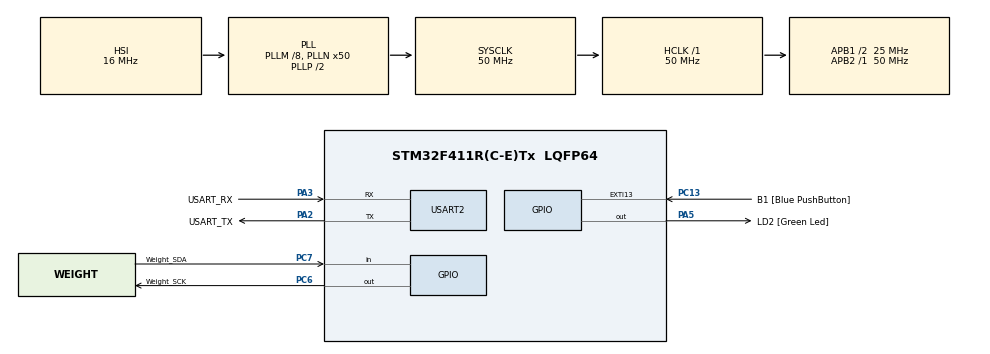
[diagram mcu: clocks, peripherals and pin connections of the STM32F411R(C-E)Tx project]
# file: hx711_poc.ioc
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Mcu.Family=STM32F4
Mcu.Name=STM32F411R(C-E)Tx
Mcu.Package=LQFP64
NVIC.PriorityGroup=NVIC_PRIORITYGROUP_0
NVIC.TIM1_UP_TIM10_IRQn=true\:0\:0\:false\:false\:true\:false\:true
NVIC.TimeBase=TIM1_UP_TIM10_IRQn
NVIC.TimeBaseIP=TIM1
PA13.GPIO_Label=TMS
PA13.Mode=Serial_Wire
PA13.Signal=SYS_JTMS-SWDIO
PA14.GPIO_Label=TCK
PA14.Mode=Serial_Wire
PA14.Signal=SYS_JTCK-SWCLK
PA2.GPIO_Label=USART_TX
PA2.Mode=Asynchronous
PA2.Signal=USART2_TX
PA3.GPIO_Label=USART_RX
PA3.Mode=Asynchronous
PA3.Signal=USART2_RX
PA5.GPIO_Label=LD2 [Green Led]
PA5.Signal=GPIO_Output
PB3.GPIO_Label=SWO
PB3.Signal=SYS_JTDO-SWO
PC13-ANTI_TAMP.GPIO_Label=B1 [Blue PushButton]
PC13-ANTI_TAMP.GPIO_ModeDefaultEXTI=GPIO_MODE_IT_FALLING
PC13-ANTI_TAMP.Signal=GPXTI13
PC14-OSC32_IN.Mode=LSE-External-Oscillator
PC14-OSC32_IN.Signal=RCC_OSC32_IN
PC15-OSC32_OUT.Mode=LSE-External-Oscillator
PC15-OSC32_OUT.Signal=RCC_OSC32_OUT
PC6.GPIO_Label=Weight_SCK
PC6.Signal=GPIO_Output
PC7.GPIO_Label=Weight_SDA
PC7.Signal=GPIO_Input
PH0\ -\ OSC_IN.Mode=HSE-External-Oscillator
PH0\ -\ OSC_IN.Signal=RCC_OSC_IN
PH1\ -\ OSC_OUT.Mode=HSE-External-Oscillator
PH1\ -\ OSC_OUT.Signal=RCC_OSC_OUT
ProjectManager.HeapSize=0x200
ProjectManager.StackSize=0x400
ProjectManager.TargetToolchain=STM32CubeIDE
RCC.48MHZClocksFreq_Value=25000000
RCC.AHBFreq_Value=50000000
RCC.APB1CLKDivider=RCC_HCLK_DIV2
RCC.APB1Freq_Value=25000000
RCC.APB1TimFreq_Value=50000000
RCC.APB2Freq_Value=50000000
RCC.APB2TimFreq_Value=50000000
RCC.CortexFreq_Value=50000000
RCC.FLatency-AdvancedSettings=FLASH_LATENCY_1
RCC.HCLKFreq_Value=50000000
RCC.HSE_VALUE=8000000
RCC.HSI_VALUE=16000000
RCC.PLLM=8
RCC.PLLN=50
RCC.SYSCLKFreq_VALUE=50000000
RCC.SYSCLKSource=RCC_SYSCLKSOURCE_PLLCLK
RCC.VCOOutputFreq_Value=100000000
USART2.VirtualMode=VM_ASYNC
VP_SYS_VS_tim1.Mode=TIM1
board=NUCLEO-F411RE

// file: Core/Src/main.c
/* USER CODE BEGIN Header */
/**
  ******************************************************************************
  * @file           : main.c
  * @brief          : Main program body
  ******************************************************************************
  * @attention
  *
  * Copyright (c) 2022 STMicroelectronics.
  * All rights reserved.
  *
  * This software is licensed under terms that can be found in the LICENSE file
  * in the root directory of this software component.
  * If no LICENSE file comes with this software, it is provided AS-IS.
  *
  ******************************************************************************
  */
/* USER CODE END Header */
#include "main.h"

UART_HandleTypeDef huart2;

/* USER CODE BEGIN PV */
const uint32_t AVERAGE_ROUND = 10;
uint32_t base_weight = 0;
uint32_t divider = 80;
uint32_t now_weight = 0;

/* USER CODE END PV */

void SystemClock_Config(void);
static void MX_GPIO_Init(void);
static void MX_USART2_UART_Init(void);
/* USER CODE BEGIN PFP */

/**
 * Use for delay in microsecond (Reference to clock speed) by called assembly instruction NOP
 * Credit to https://github.com/nimaltd/HX711/blob/a5a317e818fee1aa02c729257cff0308e5ac61c0/hx711.c#L10
 */

void hx711_delay_us(uint32_t delay)
{
  while (delay > 0)
  {
    delay--;
    asm("NOP");
  }
}

/**
 *  All credit to
 *	- https://cdn.sparkfun.com/datasheets/Sensors/ForceFlex/hx711_english.pdf (Main Structure)
 *	- https://github.com/nimaltd/HX711/blob/master/hx711.c (Timeout Part)
 */
uint32_t read_weight(uint8_t tuning) {
	uint32_t count = 0;
	uint32_t startTime = HAL_GetTick();
	uint8_t found = 1;
	while(HAL_GPIO_ReadPin(Weight_SDA_GPIO_Port, Weight_SDA_Pin)) {
		 HAL_Delay(1);

		 // Timeout
		 if(HAL_GetTick() - startTime > 150) {
		  	found = 0;
		  	break;
		 }
	}

	if(!found) {
		return 0;
	}

	for(int i = 0; i < 24; ++i) {
		HAL_GPIO_WritePin(Weight_SCK_GPIO_Port, Weight_SCK_Pin, GPIO_PIN_SET);
		hx711_delay_us(100);

		count <<= 1;

		HAL_GPIO_WritePin(Weight_SCK_GPIO_Port, Weight_SCK_Pin, GPIO_PIN_RESET);
		hx711_delay_us(100);
		if(HAL_GPIO_ReadPin(Weight_SDA_GPIO_Port, Weight_SDA_Pin) == GPIO_PIN_SET) ++count;
	}

	count ^= 0x800000;
	HAL_GPIO_WritePin(Weight_SDA_GPIO_Port, Weight_SDA_Pin, GPIO_PIN_SET);
	hx711_delay_us(20);
	HAL_GPIO_WritePin(Weight_SDA_GPIO_Port, Weight_SDA_Pin, GPIO_PIN_RESET);
	hx711_delay_us(20);

	if(tuning) return count;
	if(count < base_weight) return 0;
	return (count - base_weight);
}

uint32_t read_weight_average() {
	uint32_t now = 0;
	for(int i = 0; i < AVERAGE_ROUND; ++i) {
		now += read_weight(0) / divider;
	}

	return (now / AVERAGE_ROUND);
}

void set_zero_weight() {
	uint32_t now = 0;
	for(int i = 0; i < AVERAGE_ROUND; ++i) {
		now += read_weight(1);
	}

	now /= AVERAGE_ROUND;
	if(now >= base_weight) base_weight = now;
}
/* USER CODE END PFP */

int main(void)
{

  /* MCU Configuration--------------------------------------------------------*/

  /* Reset of all peripherals, Initializes the Flash interface and the Systick. */
  HAL_Init();

  /* Configure the system clock */
  SystemClock_Config();

  /* Initialize all configured peripherals */
  MX_GPIO_Init();
  MX_USART2_UART_Init();
  /* USER CODE BEGIN 2 */
  for(int i = 0; i < 10; ++i) {
	  set_zero_weight();
  }
  HAL_GPIO_WritePin(LD2_GPIO_Port, LD2_Pin, GPIO_PIN_SET);
  /* USER CODE END 2 */

  /* Infinite loop */
  /* USER CODE BEGIN WHILE */
  while (1)
  {
	  GPIO_PinState btn = HAL_GPIO_ReadPin(B1_GPIO_Port, B1_Pin);
	  now_weight = read_weight_average();

	  if(btn == GPIO_PIN_RESET) {
		  set_zero_weight();
		  while(HAL_GPIO_ReadPin(B1_GPIO_Port, B1_Pin) == GPIO_PIN_RESET) HAL_Delay(50);
	  }
    /* USER CODE END WHILE */

  }
}

void SystemClock_Config(void)
{
  RCC_OscInitTypeDef RCC_OscInitStruct = {0};
  RCC_ClkInitTypeDef RCC_ClkInitStruct = {0};

  /** Configure the main internal regulator output voltage
  */
  __HAL_RCC_PWR_CLK_ENABLE();
  __HAL_PWR_VOLTAGESCALING_CONFIG(PWR_REGULATOR_VOLTAGE_SCALE1);
  /** Initializes the RCC Oscillators according to the specified parameters
  * in the RCC_OscInitTypeDef structure.
  */
  RCC_OscInitStruct.OscillatorType = RCC_OSCILLATORTYPE_HSI;
  RCC_OscInitStruct.HSIState = RCC_HSI_ON;
  RCC_OscInitStruct.HSICalibrationValue = RCC_HSICALIBRATION_DEFAULT;
  RCC_OscInitStruct.PLL.PLLState = RCC_PLL_ON;
  RCC_OscInitStruct.PLL.PLLSource = RCC_PLLSOURCE_HSI;
  RCC_OscInitStruct.PLL.PLLM = 8;
  RCC_OscInitStruct.PLL.PLLN = 50;
  RCC_OscInitStruct.PLL.PLLP = RCC_PLLP_DIV2;
  RCC_OscInitStruct.PLL.PLLQ = 4;
  if (HAL_RCC_OscConfig(&RCC_OscInitStruct) != HAL_OK)
  {
    Error_Handler();
  }
  /** Initializes the CPU, AHB and APB buses clocks
  */
  RCC_ClkInitStruct.ClockType = RCC_CLOCKTYPE_HCLK|RCC_CLOCKTYPE_SYSCLK
                              |RCC_CLOCKTYPE_PCLK1|RCC_CLOCKTYPE_PCLK2;
  RCC_ClkInitStruct.SYSCLKSource = RCC_SYSCLKSOURCE_PLLCLK;
  RCC_ClkInitStruct.AHBCLKDivider = RCC_SYSCLK_DIV1;
  RCC_ClkInitStruct.APB1CLKDivider = RCC_HCLK_DIV2;
  RCC_ClkInitStruct.APB2CLKDivider = RCC_HCLK_DIV1;

  if (HAL_RCC_ClockConfig(&RCC_ClkInitStruct, FLASH_LATENCY_1) != HAL_OK)
  {
    Error_Handler();
  }
}

static void MX_USART2_UART_Init(void)
{

  huart2.Instance = USART2;
  huart2.Init.BaudRate = 115200;
  huart2.Init.WordLength = UART_WORDLENGTH_8B;
  huart2.Init.StopBits = UART_STOPBITS_1;
  huart2.Init.Parity = UART_PARITY_NONE;
  huart2.Init.Mode = UART_MODE_TX_RX;
  huart2.Init.HwFlowCtl = UART_HWCONTROL_NONE;
  huart2.Init.OverSampling = UART_OVERSAMPLING_16;
  if (HAL_UART_Init(&huart2) != HAL_OK)
  {
    Error_Handler();
  }

}

static void MX_GPIO_Init(void)
{
  GPIO_InitTypeDef GPIO_InitStruct = {0};

  /* GPIO Ports Clock Enable */
  __HAL_RCC_GPIOC_CLK_ENABLE();
  __HAL_RCC_GPIOH_CLK_ENABLE();
  __HAL_RCC_GPIOA_CLK_ENABLE();
  __HAL_RCC_GPIOB_CLK_ENABLE();

  /*Configure GPIO pin Output Level */
  HAL_GPIO_WritePin(LD2_GPIO_Port, LD2_Pin, GPIO_PIN_RESET);

  /*Configure GPIO pin Output Level */
  HAL_GPIO_WritePin(Weight_SCK_GPIO_Port, Weight_SCK_Pin, GPIO_PIN_RESET);

  /*Configure GPIO pin : B1_Pin */
  GPIO_InitStruct.Pin = B1_Pin;
  GPIO_InitStruct.Mode = GPIO_MODE_IT_FALLING;
  GPIO_InitStruct.Pull = GPIO_NOPULL;
  HAL_GPIO_Init(B1_GPIO_Port, &GPIO_InitStruct);

  /*Configure GPIO pin : LD2_Pin */
  GPIO_InitStruct.Pin = LD2_Pin;
  GPIO_InitStruct.Mode = GPIO_MODE_OUTPUT_PP;
  GPIO_InitStruct.Pull = GPIO_NOPULL;
  GPIO_InitStruct.Speed = GPIO_SPEED_FREQ_LOW;
  HAL_GPIO_Init(LD2_GPIO_Port, &GPIO_InitStruct);

  /*Configure GPIO pin : Weight_SCK_Pin */
  GPIO_InitStruct.Pin = Weight_SCK_Pin;
  GPIO_InitStruct.Mode = GPIO_MODE_OUTPUT_PP;
  GPIO_InitStruct.Pull = GPIO_NOPULL;
  GPIO_InitStruct.Speed = GPIO_SPEED_FREQ_LOW;
  HAL_GPIO_Init(Weight_SCK_GPIO_Port, &GPIO_InitStruct);

  /*Configure GPIO pin : Weight_SDA_Pin */
  GPIO_InitStruct.Pin = Weight_SDA_Pin;
  GPIO_InitStruct.Mode = GPIO_MODE_INPUT;
  GPIO_InitStruct.Pull = GPIO_NOPULL;
  HAL_GPIO_Init(Weight_SDA_GPIO_Port, &GPIO_InitStruct);

}

void HAL_TIM_PeriodElapsedCallback(TIM_HandleTypeDef *htim)
{
  if (htim->Instance == TIM1) {
    HAL_IncTick();
  }
}

void Error_Handler(void)
{
  __disable_irq();
  while (1)
  {
  }
}
